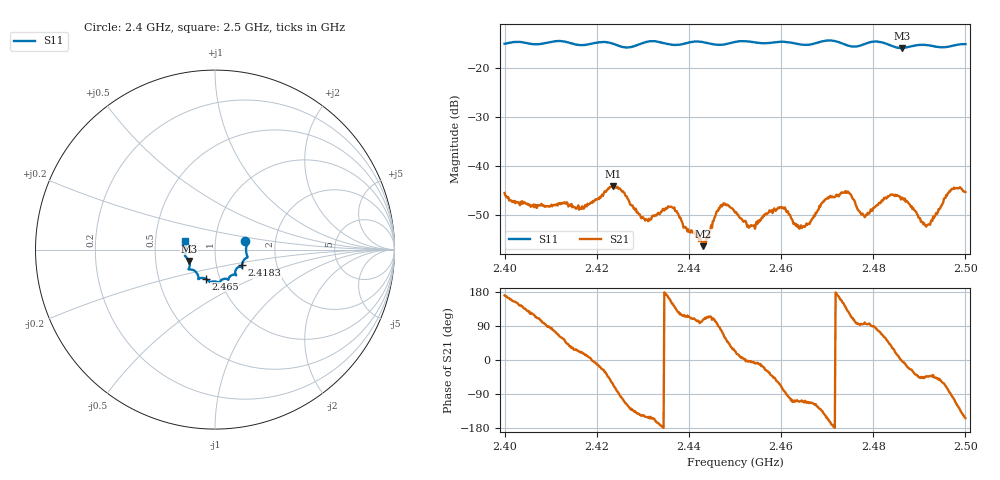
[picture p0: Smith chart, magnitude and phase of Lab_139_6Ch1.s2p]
# Hz S RI R 50
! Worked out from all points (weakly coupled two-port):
!   601 points, 2.4 GHz to 2.5 GHz, reference 50 ohm
!   highest |S21| = -44.14 dB at 2.4235 GHz (marker M1); lowest = -56.4 dB at 2.443 GHz (marker M2)
!   lowest |S11| = -16.0 dB at 2.4862 GHz (marker M3), VSWR 1.38, Z = 37.1 - j4.82 ohm
!   |S11| at or under -10 dB: start of sweep to end of sweep
!   S12 and S22 are empty: the file has one direction only
!   S11 on the Smith chart (normalised r, x): 2.4 GHz: 1.40, +0.13; 2.4183 GHz: 1.33, -0.24; 2.465 GHz: 0.86, -0.29; 2.5 GHz: 0.71, +0.07
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2.4e9  0.1689 0.0459  -0.0052 0.000879  0 0  0 0
2.416667e9  0.1549 -0.0684  0.00344 0.0012  0 0  0 0
2.418333e9  0.1497 -0.0869  0.00404 0.000479  0 0  0 0
2.4235e9  0.1462 -0.0967  0.00279 -0.00554  0 0  0 0
2.43e9  0.1139 -0.137  -0.00247 -0.0017  0 0  0 0
2.433333e9  0.1165 -0.1413  -0.00324 -0.000747  0 0  0 0
2.436333e9  0.0962 -0.1412  -0.00323 0.00197  0 0  0 0
2.443e9  0.072 -0.1669  -0.000402 0.00146  0 0  0 0
2.447e9  0.0436 -0.1652  0.000803 0.00392  0 0  0 0
2.45e9  0.0252 -0.1806  0.00307 0.00134  0 0  0 0
2.453833e9  0.0148 -0.1815  0.00244 -0.000267  0 0  0 0
2.460333e9  -0.0286 -0.181  0.000859 -0.00362  0 0  0 0
2.465e9  -0.0527 -0.1622  -0.000907 -0.00225  0 0  0 0
2.466667e9  -0.0713 -0.1577  -0.00112 -0.00262  0 0  0 0
2.469667e9  -0.0918 -0.1637  -0.00384 -0.00245  0 0  0 0
2.4735e9  -0.0937 -0.1473  -0.00464 0.00259  0 0  0 0
2.478e9  -0.1329 -0.1112  -0.000328 0.0031  0 0  0 0
2.483333e9  -0.1421 -0.096  0.00339 0.00351  0 0  0 0
2.486167e9  -0.1448 -0.0633  0.00459 -0.000121  0 0  0 0
2.491833e9  -0.1668 -0.0286  0.00182 -0.00173  0 0  0 0
2.497e9  -0.1634 0.0275  -0.000356 -0.0058  0 0  0 0
2.5e9  -0.1667 0.0471  -0.00483 -0.00243  0 0  0 0
